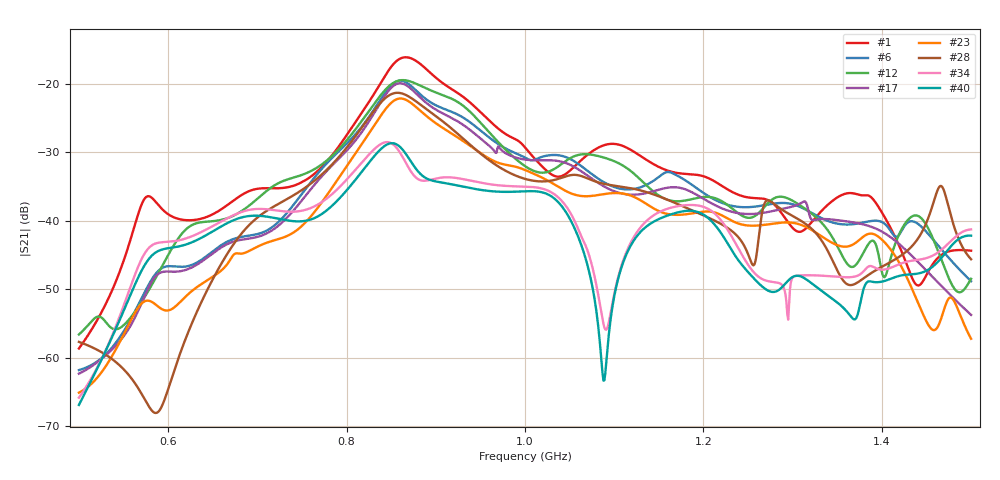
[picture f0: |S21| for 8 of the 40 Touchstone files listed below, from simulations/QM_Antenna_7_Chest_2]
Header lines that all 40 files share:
! TOUCHSTONE file generated by CST MICROWAVE STUDIO
! Header version: 2018
! Port assignment regex: !\s*Touchstone port\s*([0-9]+)\s*=\s*(CST MWS port|CST DS port)\s*([0-9]+|Zmin|Zmax)\s*\(\"(.*)\"\)(\s*mode\s*([0-9]+))?.*
! Touchstone port assignment:
! Touchstone port 1 = CST MWS port 1 ("")
! Touchstone port 2 = CST MWS port 2 ("")
# GHz S DB R 50
Fixed: L_HA = 400, MT = 2.54, Rad_Dielectric = 30, Rad_Lower = 7.3, Rad_Upper = 30, a_HA = 580, a_WG = 246, b_HA = 500, b_WG = 121, c_HA = 0, c_WG = 187, d_feed = 85, h_feed = 15, h_lower = 18, h_upper = 40, hfat = 3, hgap = 25, hmuscle = 50, hskin = 1.5
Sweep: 500 MHz to 1.5 GHz
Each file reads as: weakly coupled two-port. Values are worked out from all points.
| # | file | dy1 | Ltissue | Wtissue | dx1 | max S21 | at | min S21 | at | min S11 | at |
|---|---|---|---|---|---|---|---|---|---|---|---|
| 1 | 29_1.s2p | -138.4 | 700 | 700 | 173 | -16.16 dB | 866.5 MHz | -58.6 dB | 500 MHz | -20.5 dB | 1.378 GHz |
| 2 | 29_2.s2p | 138.4 | 1000 | 1000 | 346 | -17.89 dB | 866 MHz | -58.9 dB | 1.494 GHz | -26.1 dB | 1.298 GHz |
| 3 | 29_3.s2p | 138.4 | 700 | 700 | 520 | -18.92 dB | 858 MHz | -62.2 dB | 500 MHz | -19.5 dB | 1.242 GHz |
| 4 | 30_1.s2p | -155.7 | 700 | 700 | 173 | -17.68 dB | 869 MHz | -59.2 dB | 500 MHz | -21.5 dB | 1.379 GHz |
| 5 | 30_2.s2p | 155.7 | 1000 | 1000 | 346 | -18.53 dB | 864 MHz | -56.1 dB | 500 MHz | -23.4 dB | 1.298 GHz |
| 6 | 30_4.s2p | -155.7 | 700 | 700 | 693 | -19.57 dB | 860 MHz | -61.8 dB | 500 MHz | -26.3 dB | 1.304 GHz |
| 7 | 30_5.s2p | 155.7 | 700 | 700 | 866 | -20.92 dB | 860 MHz | -64.1 dB | 500 MHz | -53.5 dB | 697 MHz |
| 8 | 30_6.s2p | 155.7 | 700 | 700 | 1039 | -21.97 dB | 860 MHz | -64.4 dB | 500 MHz | -45.5 dB | 789 MHz |
| 9 | 31_2.s2p | 173 | 1000 | 1000 | 346 | -18.98 dB | 864 MHz | -56.5 dB | 509 MHz | -21.4 dB | 1.299 GHz |
| 10 | 31_3.s2p | 173 | 700 | 700 | 520 | -19.20 dB | 858 MHz | -62.6 dB | 500 MHz | -20.2 dB | 1.363 GHz |
| 11 | 31_6.s2p | 173 | 700 | 700 | 1039 | -22.01 dB | 860 MHz | -64.5 dB | 500 MHz | -45.2 dB | 789 MHz |
| 12 | 32_2.s2p | 190.3 | 1000 | 1000 | 346 | -19.49 dB | 863 MHz | -56.6 dB | 500 MHz | -20.1 dB | 1.299 GHz |
| 13 | 32_4.s2p | -190.3 | 700 | 700 | 693 | -19.77 dB | 860 MHz | -73.5 dB | 1.478 GHz | -25.2 dB | 1.304 GHz |
| 14 | 32_5.s2p | 190.3 | 700 | 700 | 866 | -21.09 dB | 860 MHz | -64.6 dB | 515 MHz | -39.1 dB | 1.26 GHz |
| 15 | 33_2.s2p | 207.6 | 1000 | 1000 | 346 | -20.01 dB | 861 MHz | -56.8 dB | 500 MHz | -19.1 dB | 1.299 GHz |
| 16 | 33_3.s2p | 207.6 | 700 | 700 | 520 | -19.48 dB | 858 MHz | -63.2 dB | 500 MHz | -20.3 dB | 1.362 GHz |
| 17 | 33_4.s2p | -207.6 | 700 | 700 | 693 | -19.94 dB | 860 MHz | -62.3 dB | 500 MHz | -25.6 dB | 1.305 GHz |
| 18 | 33_5.s2p | 207.6 | 700 | 700 | 866 | -21.28 dB | 860 MHz | -64.4 dB | 500 MHz | -46.8 dB | 779 MHz |
| 19 | 33_6.s2p | 207.6 | 700 | 700 | 1039 | -22.04 dB | 861 MHz | -64.9 dB | 500 MHz | -52.1 dB | 1.218 GHz |
| 20 | 34_2.s2p | 224.9 | 1000 | 1000 | 346 | -20.48 dB | 860 MHz | -58.1 dB | 516 MHz | -18.4 dB | 1.3 GHz |
| 21 | 34_3.s2p | 224.9 | 700 | 700 | 520 | -19.65 dB | 858 MHz | -63.5 dB | 500 MHz | -19.9 dB | 1.362 GHz |
| 22 | 34_4.s2p | -224.9 | 700 | 700 | 693 | -20.15 dB | 860 MHz | -67.3 dB | 1.482 GHz | -27.4 dB | 765 MHz |
| 23 | 34_6.s2p | 224.9 | 700 | 700 | 1039 | -22.17 dB | 860 MHz | -65.1 dB | 500 MHz | -45.3 dB | 1.218 GHz |
| 24 | 35_2.s2p | 242.2 | 1000 | 1000 | 346 | -20.92 dB | 857 MHz | -57.5 dB | 541 MHz | -17.7 dB | 1.3 GHz |
| 25 | 35_4.s2p | -242.2 | 700 | 700 | 693 | -20.37 dB | 860 MHz | -63.5 dB | 1.484 GHz | -30.0 dB | 765 MHz |
| 26 | 35_6.s2p | 242.2 | 700 | 700 | 1039 | -22.21 dB | 862 MHz | -65.2 dB | 500 MHz | -42.6 dB | 711 MHz |
| 27 | 36_1.s2p | -259.5 | 700 | 700 | 173 | -28.76 dB | 841 MHz | -63.8 dB | 500 MHz | -21.4 dB | 1.381 GHz |
| 28 | 36_2.s2p | 259.5 | 1000 | 1000 | 346 | -21.34 dB | 857 MHz | -68.0 dB | 586 MHz | -17.1 dB | 1.3 GHz |
| 29 | 36_3.s2p | 259.5 | 700 | 700 | 520 | -20.02 dB | 860 MHz | -64.1 dB | 500 MHz | -20.0 dB | 1.241 GHz |
| 30 | 36_4.s2p | -259.5 | 700 | 700 | 693 | -20.52 dB | 861 MHz | -62.8 dB | 500 MHz | -32.9 dB | 765 MHz |
| 31 | 36_5.s2p | 259.5 | 700 | 700 | 866 | -21.87 dB | 860 MHz | -64.8 dB | 500 MHz | -43.0 dB | 1.259 GHz |
| 32 | 37_2.s2p | 276.8 | 1000 | 1000 | 346 | -21.64 dB | 854 MHz | -58.0 dB | 500 MHz | -16.9 dB | 1.3 GHz |
| 33 | 37_5.s2p | 276.8 | 700 | 700 | 866 | -22.14 dB | 860 MHz | -65.3 dB | 516 MHz | -49.5 dB | 1.258 GHz |
| 34 | 38_1.s2p | -294.1 | 700 | 700 | 173 | -28.53 dB | 845 MHz | -65.8 dB | 500 MHz | -19.2 dB | 1.378 GHz |
| 35 | 38_2.s2p | 294.1 | 1000 | 1000 | 346 | -22.03 dB | 855 MHz | -61.7 dB | 1.408 GHz | -16.7 dB | 1.3 GHz |
| 36 | 38_3.s2p | 294.1 | 700 | 700 | 520 | -20.58 dB | 860 MHz | -64.8 dB | 500 MHz | -22.2 dB | 1.239 GHz |
| 37 | 38_4.s2p | -294.1 | 700 | 700 | 693 | -21.09 dB | 860 MHz | -63.1 dB | 500 MHz | -43.7 dB | 765 MHz |
| 38 | 38_5.s2p | 294.1 | 700 | 700 | 866 | -22.38 dB | 861 MHz | -65.1 dB | 500 MHz | -46.1 dB | 1.257 GHz |
| 39 | 38_6.s2p | 294.1 | 700 | 700 | 1039 | -22.68 dB | 862 MHz | -65.7 dB | 500 MHz | -37.2 dB | 1.218 GHz |
| 40 | 39_1.s2p | -311.4 | 700 | 700 | 173 | -28.69 dB | 851 MHz | -66.9 dB | 500 MHz | -16.8 dB | 1.375 GHz |
